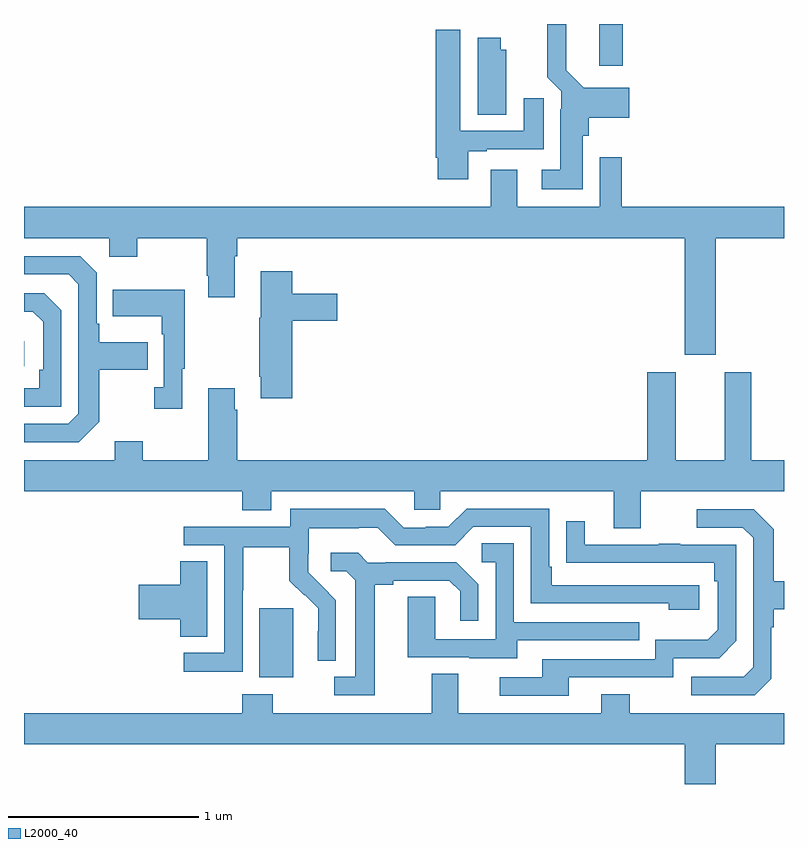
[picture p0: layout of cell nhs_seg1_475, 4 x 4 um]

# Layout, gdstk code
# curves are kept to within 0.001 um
import gdstk
lib = gdstk.Library(unit=1e-6, precision=1e-09)
def R(c, l, rs):  # rectangles x0, y0, x1, y1
    for r in rs: c.add(gdstk.rectangle(r[:2], r[2:], *l))
def P(c, l, *ps):  # polygons
    for p in ps: c.add(gdstk.Polygon(p, *l))
L2000_40 = (2000, 40)

nhs_seg1_475 = lib.new_cell('nhs_seg1_475')
R(nhs_seg1_475, L2000_40, [(138.239,542.762,138.418,543.123), (137,544.398,137.002,544.528), (140.027,545.979,140.15,546.199)])
P(nhs_seg1_475, L2000_40, [(139.942,545.61),(139.973,545.61),(139.973,545.705),(140.185,545.705),(140.185,545.863),(139.947,545.863),(139.855,545.956),(139.855,546.199),(139.753,546.199),(139.753,545.918),(139.827,545.844),(139.827,545.75),(139.823,545.75),(139.823,545.431),(139.725,545.431),(139.725,545.33),(139.942,545.33)],
  [(139.339,545.529),(139.435,545.529),(139.435,545.541),(139.735,545.541),(139.735,545.809),(139.631,545.809),(139.631,545.637),(139.297,545.637),(139.297,546.169),(139.166,546.169),(139.166,545.494),(139.178,545.494),(139.178,545.382),(139.339,545.382)],
  [(139.537,546.063),(139.51,546.063),(139.51,546.127),(139.388,546.127),(139.388,545.722),(139.537,545.722)],
  [(140.641,545.072),(141,545.072),(141,545.236),(140.147,545.236),(140.147,545.497),(140.031,545.497),(140.031,545.236),(139.597,545.236),(139.597,545.431),(139.457,545.431),(139.457,545.236),(137,545.236),(137,545.072),(137.448,545.072),(137.448,544.973),(137.595,544.973),(137.595,545.072),(137.962,545.072),(137.962,544.873),(137.969,544.873),(137.969,544.761),(138.109,544.761),(138.109,544.976),(138.122,544.976),(138.122,545.072),(140.477,545.072),(140.477,544.458),(140.641,544.458)],
  [(137.395,544.105),(137.395,544.378),(137.651,544.378),(137.651,544.525),(137.395,544.525),(137.395,544.621),(137.382,544.621),(137.382,544.89),(137.295,544.977),(137,544.977),(137,544.881),(137.235,544.881),(137.286,544.83),(137.286,544.149),(137.232,544.095),(137,544.095),(137,543.999),(137.289,543.999)],
  [(138.413,544.637),(138.649,544.637),(138.649,544.779),(138.413,544.779),(138.413,544.897),(138.245,544.897),(138.245,544.653),(138.238,544.653),(138.238,544.342),(138.245,544.342),(138.245,544.23),(138.413,544.23)],
  [(137.833,544.385),(137.845,544.385),(137.845,544.801),(137.467,544.801),(137.467,544.661),(137.724,544.661),(137.724,544.565),(137.736,544.565),(137.736,544.286),(137.685,544.286),(137.685,544.173),(137.833,544.173)],
  [(137.196,544.692),(137.106,544.782),(137,544.782),(137,544.685),(137.047,544.685),(137.1,544.632),(137.1,544.378),(137.08,544.378),(137.08,544.281),(137,544.281),(137,544.185),(137.196,544.185)],
  [(137.969,544.282),(137.969,543.904),(137.625,543.904),(137.625,544.003),(137.477,544.003),(137.477,543.904),(137,543.904),(137,543.74),(138.149,543.74),(138.149,543.641),(138.301,543.641),(138.301,543.74),(139.053,543.74),(139.053,543.642),(139.191,543.642),(139.191,543.74),(140.105,543.74),(140.105,543.546),(140.245,543.546),(140.245,543.74),(141,543.74),(141,543.904),(140.827,543.904),(140.827,544.366),(140.687,544.366),(140.687,543.904),(140.431,543.904),(140.431,544.366),(140.279,544.366),(140.279,543.904),(138.122,543.904),(138.122,544.169),(138.109,544.169),(138.109,544.282)],
  [(138.15,543.22),(138.153,543.22),(138.153,543.444),(138.397,543.444),(138.397,543.269),(138.474,543.192),(138.477,543.195),(138.548,543.125),(138.548,543.002),(138.546,543.002),(138.546,542.848),(138.642,542.848),(138.642,543.166),(138.496,543.314),(138.496,543.411),(138.498,543.411),(138.498,543.545),(138.761,543.545),(138.761,543.549),(138.861,543.549),(138.954,543.456),(139.269,543.456),(139.365,543.552),(139.668,543.552),(139.668,543.15),(140.393,543.15),(140.393,543.116),(140.554,543.116),(140.554,543.246),(139.777,543.246),(139.777,543.343),(139.764,543.343),(139.764,543.648),(139.329,543.648),(139.233,543.552),(139.115,543.552),(139.115,543.549),(138.999,543.549),(138.899,543.649),(138.402,543.649),(138.402,543.552),(137.841,543.552),(137.841,543.456),(138.054,543.456),(138.054,542.889),(137.841,542.889),(137.841,542.791),(138.15,542.791)],
  [(140.934,542.754),(140.934,543.023),(140.947,543.023),(140.947,543.119),(141,543.119),(141,543.267),(140.947,543.267),(140.947,543.539),(140.841,543.645),(140.541,543.645),(140.541,543.549),(140.784,543.549),(140.838,543.495),(140.838,542.814),(140.787,542.763),(140.511,542.763),(140.511,542.667),(140.847,542.667)],
  [(139.867,542.76),(140.418,542.76),(140.418,542.862),(140.658,542.862),(140.748,542.952),(140.748,543.459),(140.453,543.459),(140.453,543.464),(140.341,543.464),(140.341,543.459),(139.951,543.459),(139.951,543.583),(139.855,543.583),(139.855,543.364),(140.632,543.363),(140.632,543.266),(140.652,543.266),(140.652,543.012),(140.599,542.959),(140.322,542.959),(140.322,542.856),(139.727,542.856),(139.727,542.76),(139.503,542.76),(139.503,542.664),(139.867,542.664)],
  [(139.597,542.955),(140.237,542.955),(140.237,543.051),(139.578,543.051),(139.578,543.467),(139.41,543.467),(139.41,543.366),(139.482,543.366),(139.482,542.961),(139.164,542.961),(139.164,543.185),(139.019,543.185),(139.019,542.865),(139.343,542.865),(139.343,542.861),(139.597,542.861)],
  [(138.847,543.248),(138.943,543.248),(138.943,543.27),(139.238,543.27),(139.295,543.213),(139.295,543.057),(139.392,543.057),(139.392,543.25),(139.276,543.366),(138.904,543.366),(138.904,543.363),(138.81,543.363),(138.758,543.415),(138.615,543.415),(138.615,543.318),(138.696,543.318),(138.743,543.271),(138.743,542.763),(138.633,542.763),(138.633,542.667),(138.847,542.667)],
  [(137.965,543.371),(137.822,543.371),(137.822,543.248),(137.604,543.248),(137.604,543.065),(137.822,543.065),(137.822,542.974),(137.965,542.974)],
  [(140.641,542.408),(141,542.408),(141,542.572),(140.187,542.572),(140.187,542.671),(140.039,542.671),(140.039,542.572),(139.285,542.572),(139.285,542.78),(139.145,542.78),(139.145,542.572),(138.309,542.572),(138.309,542.671),(138.149,542.671),(138.149,542.572),(137,542.572),(137,542.408),(140.477,542.408),(140.477,542.199),(140.641,542.199)])

lib.write_gds('nhs_seg1_475.gds')
